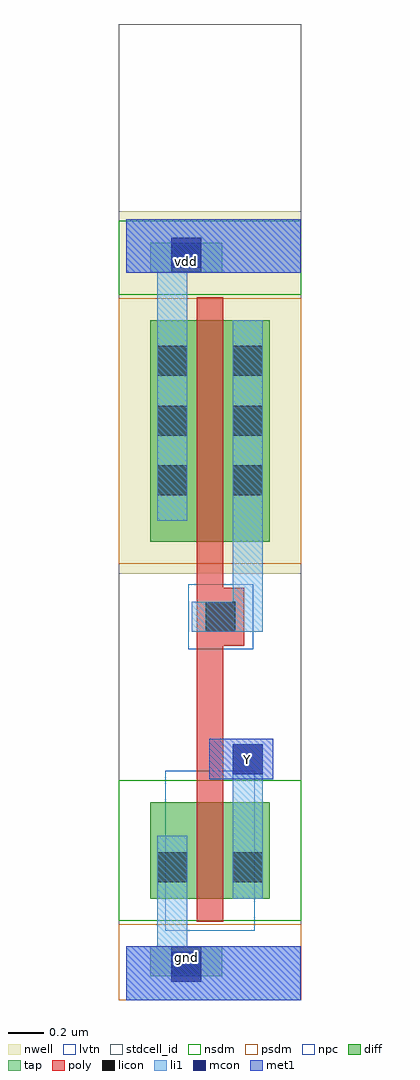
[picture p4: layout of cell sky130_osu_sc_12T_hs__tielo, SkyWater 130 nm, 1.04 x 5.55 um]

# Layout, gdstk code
import gdstk
lib = gdstk.Library(unit=1e-6, precision=1e-09)
def R(c, l, rs):  # rectangles x0, y0, x1, y1
    for r in rs: c.add(gdstk.rectangle(r[:2], r[2:], *l))
def A(c, l, x, y, w, h, nx, ny, dx, dy):  # array of equal rectangles
    R(c, l, [(x+i*dx, y+j*dy, x+i*dx+w, y+j*dy+h) for i in range(nx) for j in range(ny)])
nwell = (64, 20)
diff = (65, 20)
tap = (65, 44)
poly = (66, 20)
licon = (66, 44)
li1 = (67, 20)
mcon = (67, 44)
met1 = (68, 20)
stdcell_id = (81, 4)
nsdm = (93, 44)
psdm = (94, 20)
npc = (95, 20)
lvtn = (125, 44)

sky130_osu_sc_12t_hs__ti = lib.new_cell('sky130_osu_sc_12T_hs__tielo')
R(sky130_osu_sc_12t_hs__ti, nwell, [(-0.045,2.425,0.995,4.485)])
R(sky130_osu_sc_12t_hs__ti, diff, [(0.135,0.575,0.815,1.125), (0.135,2.605,0.815,3.865)])
R(sky130_osu_sc_12t_hs__ti, tap, [(0.135,0.135,0.545,0.305), (0.135,4.135,0.545,4.305)])
R(sky130_osu_sc_12t_hs__ti, poly, [(0.4,0.445,0.55,2.015), (0.4,2.015,0.67,2.345), (0.4,2.345,0.55,3.995)])
A(sky130_osu_sc_12t_hs__ti, licon, 0.175, 2.87, 0.17, 0.17, 1, 3, 0, 0.34)
A(sky130_osu_sc_12t_hs__ti, licon, 0.605, 2.87, 0.17, 0.17, 1, 3, 0, 0.34)
R(sky130_osu_sc_12t_hs__ti, licon, [(0.255,0.135,0.425,0.305), (0.175,0.67,0.345,0.84), (0.605,0.67,0.775,0.84), (0.45,2.095,0.62,2.265), (0.255,4.135,0.425,4.305)])
R(sky130_osu_sc_12t_hs__ti, li1, [(0,0,0.99,0.305), (0.175,0.305,0.345,0.935), (0.605,0.575,0.775,1.455), (0.37,2.095,0.775,2.265), (0.605,2.265,0.775,3.865), (0.175,2.725,0.345,4.135), (0,4.135,0.99,4.44)])
R(sky130_osu_sc_12t_hs__ti, mcon, [(0.255,0.105,0.425,0.275), (0.605,1.285,0.775,1.455), (0.255,4.165,0.425,4.335)])
R(sky130_osu_sc_12t_hs__ti, met1, [(0,0,0.99,0.305), (0.47,1.255,0.835,1.485), (0,4.135,0.99,4.44)])
R(sky130_osu_sc_12t_hs__ti, stdcell_id, [(-0.045,0,0.995,5.55)])
R(sky130_osu_sc_12t_hs__ti, nsdm, [(-0.045,0.45,0.995,1.25), (-0.045,4.01,0.995,4.43)])
R(sky130_osu_sc_12t_hs__ti, psdm, [(-0.045,0,0.995,0.43), (-0.045,2.48,0.995,3.99)])
R(sky130_osu_sc_12t_hs__ti, npc, [(0.35,1.995,0.72,2.365)])
R(sky130_osu_sc_12t_hs__ti, lvtn, [(0.22,0.395,0.73,1.305)])
sky130_osu_sc_12t_hs__ti.add(gdstk.Label('gnd', (0.34,0.24), layer=68, texttype=16))
sky130_osu_sc_12t_hs__ti.add(gdstk.Label('vdd', (0.34,4.2), layer=68, texttype=16))
sky130_osu_sc_12t_hs__ti.add(gdstk.Label('Y', (0.69,1.37), layer=68, texttype=5))

lib.write_gds('sky130_osu_sc_12T_hs__tielo.gds')
